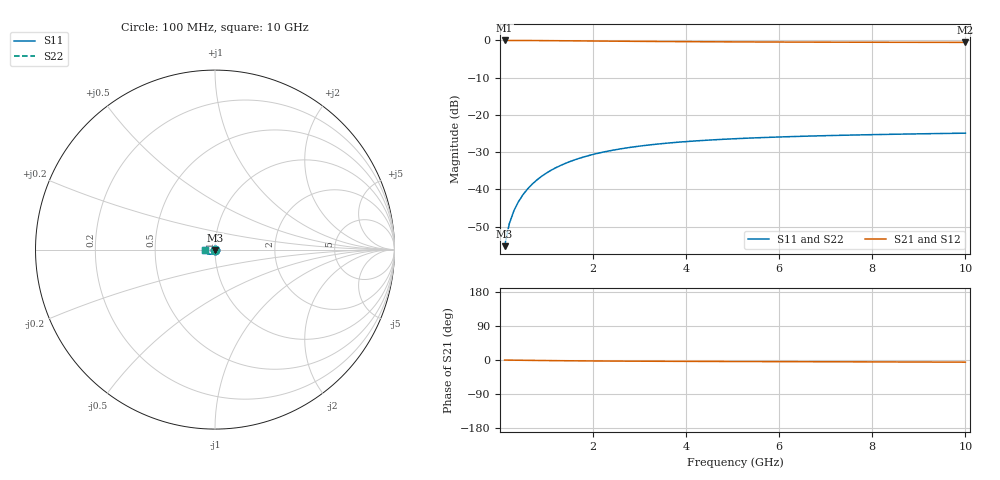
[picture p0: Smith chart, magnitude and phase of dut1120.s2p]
! Touchstone file exported from HFSS 2024.1.0
!  File:  C:/UserFiles/LocalFiles/RDL_TSV_Batchsim/temp_TSV1_1120_1780068920.aedt
!  Generated:  11:40:37 PM May 29, 2026
!  Design:  TSV1
!  Project:  temp_TSV1_1120_1780068920
!  Setup:  Setup1
!  Solution:  Sweep
! Variables:
!  dtsv = 13.12um
!  hbump = 3um
!  htsv = 87.63um
!  lrdl = 252.1521522um
!  p = 40
!  p1 = 57.56um
!  t = 500um
!  trdl = 3um
!  wrdl = 24.89489489um
# GHz S MA R 50.000000
! Terminal data exported
! Port[1] = TSV22_T1
! Port[2] = TSV22_T2
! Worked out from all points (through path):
!   100 points, 100 MHz to 10 GHz, reference 50 ohm
!   highest |S21| = 0.00 dB at 100 MHz (marker M1); lowest = -0.5 dB at 10 GHz (marker M2)
!   lowest |S11| = -55.3 dB at 100 MHz (marker M3), VSWR 1.00, Z = 50 - j0.172 ohm
!   |S11| at or under -10 dB: start of sweep to end of sweep
!   |S22| runs from -55.3 to -24.9 dB; largest |S21 - S12| = 3.4e-15
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0.1  0.001725 -88.9  0.9998 -0.2  0.9998 -0.2  0.001725 -88.9
! Gamma 0 0 0 0
! Port Impedance 50 0 50 0
0.2  0.003446 -92.2  0.9997 -0.3  0.9997 -0.3  0.003446 -92.2
0.3  0.005164 -94.6  0.9993 -0.5  0.9993 -0.5  0.005164 -94.6
0.4  0.006871 -96.8  0.9989 -0.6  0.9989 -0.6  0.006871 -96.8
0.5  0.008561 -98.8  0.9984 -0.8  0.9984 -0.8  0.008561 -98.8
0.6  0.01023 -100.9  0.9978 -0.9  0.9978 -0.9  0.01023 -100.9
0.7  0.01187 -102.8  0.9971 -1.1  0.9971 -1.1  0.01187 -102.8
0.8  0.01347 -104.8  0.9963 -1.2  0.9963 -1.2  0.01347 -104.8
0.9  0.01504 -106.7  0.9954 -1.3  0.9954 -1.3  0.01504 -106.7
1.1  0.01806 -110.3  0.9935 -1.6  0.9935 -1.6  0.01806 -110.3
1.4  0.02226 -115.5  0.9903 -1.9  0.9903 -1.9  0.02226 -115.5
1.6  0.02483 -118.8  0.9879 -2.1  0.9879 -2.1  0.02483 -118.8
1.8  0.02722 -121.9  0.9856 -2.3  0.9856 -2.3  0.02722 -121.9
2.1  0.03047 -126.3  0.982 -2.6  0.982 -2.6  0.03047 -126.3
2.5  0.03421 -131.5  0.9774 -2.9  0.9774 -2.9  0.03421 -131.5
2.9  0.03738 -136.3  0.9731 -3.1  0.9731 -3.1  0.03738 -136.3
3.4  0.04065 -141.5  0.9684 -3.4  0.9684 -3.4  0.04065 -141.5
4.2  0.0447 -148.6  0.962 -3.7  0.962 -3.7  0.0447 -148.6
5.1  0.04802 -155.2  0.9564 -4.0  0.9564 -4.0  0.04802 -155.2
6.7  0.05204 -164.5  0.9495 -4.6  0.9495 -4.6  0.05204 -164.5
8.4  0.05487 -172.2  0.9449 -5.1  0.9449 -5.1  0.05487 -172.2
10  0.05683 -178.2  0.9419 -5.7  0.9419 -5.7  0.05683 -178.2
